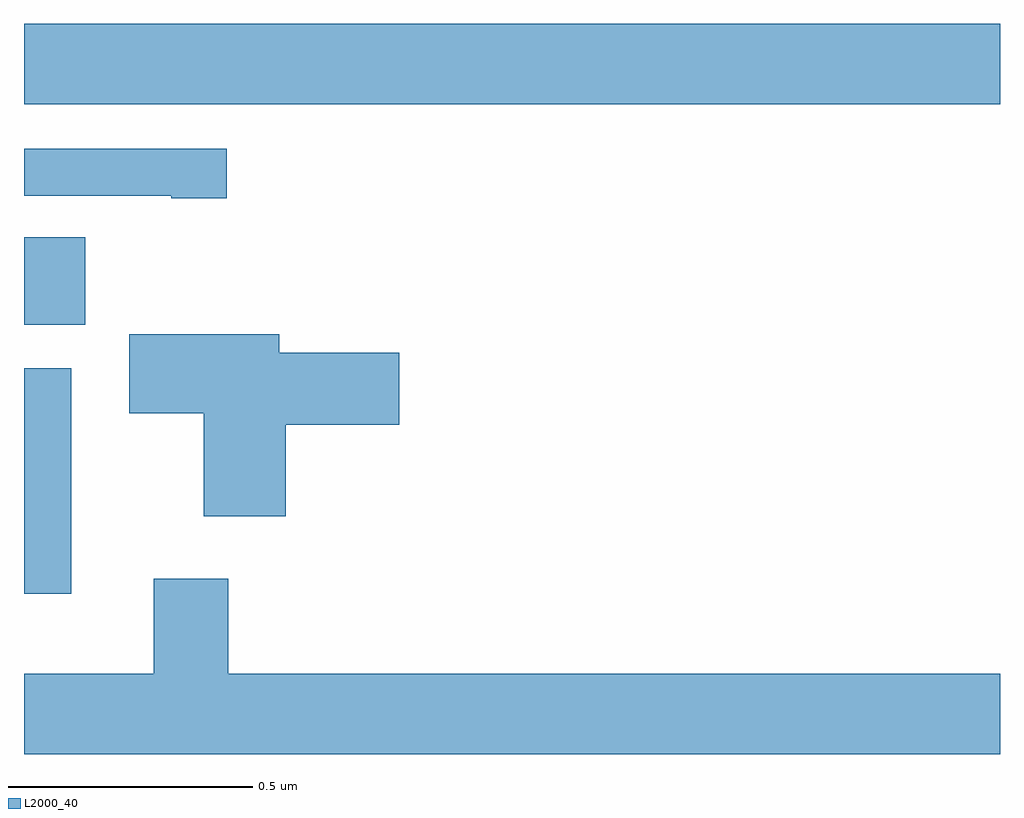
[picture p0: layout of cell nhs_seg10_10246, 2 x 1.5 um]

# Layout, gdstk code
import gdstk
lib = gdstk.Library(unit=1e-6, precision=1e-09)
def R(c, l, rs):  # rectangles x0, y0, x1, y1
    for r in rs: c.add(gdstk.rectangle(r[:2], r[2:], *l))
def P(c, l, *ps):  # polygons
    for p in ps: c.add(gdstk.Polygon(p, *l))
L2000_40 = (2000, 40)

nhs_seg10_10246 = lib.new_cell('nhs_seg10_10246')
R(nhs_seg10_10246, L2000_40, [(240,1274.004,240.097,1274.467), (240,1274.556,240.125,1274.735), (240,1275.008,242,1275.172)])
P(nhs_seg10_10246, L2000_40, [(240.415,1274.916),(240,1274.916),(240,1274.82),(240.302,1274.82),(240.302,1274.815),(240.415,1274.815)],
  [(240.536,1274.351),(240.769,1274.351),(240.769,1274.498),(240.523,1274.498),(240.523,1274.536),(240.216,1274.536),(240.216,1274.374),(240.368,1274.374),(240.368,1274.163),(240.536,1274.163)],
  [(240.266,1274.035),(240.266,1273.84),(240,1273.84),(240,1273.676),(242,1273.676),(242,1273.84),(240.419,1273.84),(240.419,1274.035)])

lib.write_gds('nhs_seg10_10246.gds')
